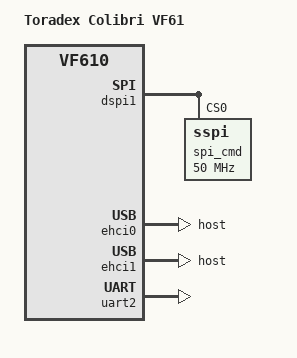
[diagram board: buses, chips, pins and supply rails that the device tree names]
/*
 * Copyright 2017 Host Mobility AB
 *
 * SPDX-License-Identifier:     GPL-2.0+ or X11
 */

/dts-v1/;
#include "vf.dtsi"

/ {
	model = "Toradex Colibri VF61";
	compatible = "toradex,vf610-colibri_vf61", "toradex,vf610-colibri_vf61", "fsl,vf610";

	chosen {
		stdout-path = &uart2;
	};
};

&dspi1 {
	status = "okay";
	bus-num = <1>;

	spi_cmd: sspi@0 {
		reg = <0>;
		spi-max-frequency = <50000000>;
	};
};

&ehci0 {
	dr_mode = "host";
	status = "okay";
};

&ehci1 {
	dr_mode = "host";
	status = "okay";
};

&uart2 {
	status = "okay";
};
